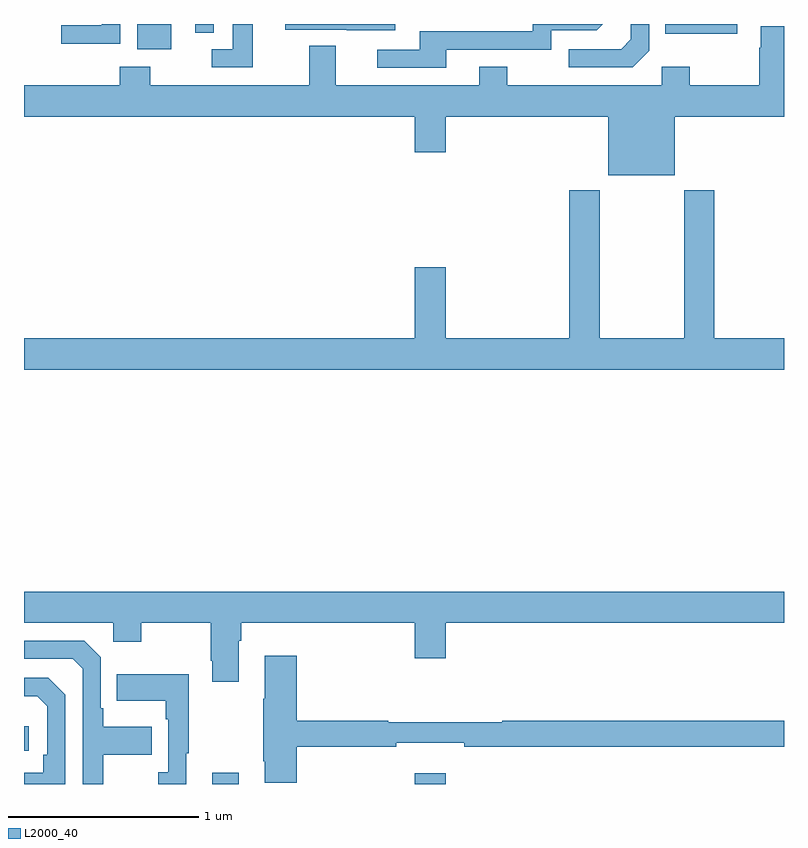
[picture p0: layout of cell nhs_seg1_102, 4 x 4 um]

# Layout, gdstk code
import gdstk
lib = gdstk.Library(unit=1e-6, precision=1e-09)
def R(c, l, rs):  # rectangles x0, y0, x1, y1
    for r in rs: c.add(gdstk.rectangle(r[:2], r[2:], *l))
def P(c, l, *ps):  # polygons
    for p in ps: c.add(gdstk.Polygon(p, *l))
L2000_40 = (2000, 40)

nhs_seg1_102 = lib.new_cell('nhs_seg1_102')
R(nhs_seg1_102, L2000_40, [(115.991,568.199,116.131,568.258), (117.056,568.199,117.22,568.255), (115,568.374,115.024,568.504), (115.595,572.066,115.774,572.199), (118.375,572.147,118.753,572.199), (115.902,572.152,115.998,572.199)])
P(nhs_seg1_102, L2000_40, [(116.203,572.199),(116.099,572.199),(116.099,572.067),(115.989,572.067),(115.989,571.971),(116.203,571.971)],
  [(118.29,572.058),(118.29,572.199),(118.194,572.199),(118.194,572.118),(118.143,572.067),(117.867,572.067),(117.867,571.971),(118.203,571.971)],
  [(116.953,572.199),(116.375,572.199),(116.375,572.169),(116.699,572.169),(116.699,572.165),(116.953,572.165)],
  [(117.223,572.064),(117.774,572.064),(117.774,572.166),(118.014,572.166),(118.047,572.199),(117.678,572.199),(117.678,572.16),(117.083,572.16),(117.083,572.064),(116.859,572.064),(116.859,571.968),(117.223,571.968)],
  [(115.506,572.199),(115.41,572.199),(115.41,572.193),(115.197,572.193),(115.197,572.095),(115.506,572.095)],
  [(118.426,571.712),(119,571.712),(119,572.188),(118.877,572.188),(118.877,572.075),(118.87,572.075),(118.87,571.876),(118.503,571.876),(118.503,571.975),(118.356,571.975),(118.356,571.876),(117.543,571.876),(117.543,571.975),(117.395,571.975),(117.395,571.876),(116.641,571.876),(116.641,572.084),(116.501,572.084),(116.501,571.876),(115.665,571.876),(115.665,571.975),(115.505,571.975),(115.505,571.876),(115,571.876),(115,571.712),(117.056,571.712),(117.056,571.524),(117.22,571.524),(117.22,571.712),(118.076,571.712),(118.076,571.403),(118.426,571.403)],
  [(119,570.544),(118.634,570.544),(118.634,571.324),(118.474,571.324),(118.474,570.544),(118.029,570.544),(118.029,571.324),(117.869,571.324),(117.869,570.544),(117.22,570.544),(117.22,570.919),(117.056,570.919),(117.056,570.544),(115,570.544),(115,570.38),(119,570.38)],
  [(116.131,568.952),(116.144,568.952),(116.144,569.048),(117.056,569.048),(117.056,568.86),(117.22,568.86),(117.22,569.048),(119,569.048),(119,569.212),(115,569.212),(115,569.048),(115.47,569.048),(115.47,568.949),(115.617,568.949),(115.617,569.048),(115.984,569.048),(115.984,568.849),(115.991,568.849),(115.991,568.737),(116.131,568.737)],
  [(115.417,568.354),(115.673,568.354),(115.673,568.501),(115.417,568.501),(115.417,568.597),(115.404,568.597),(115.404,568.866),(115.317,568.953),(115,568.953),(115,568.857),(115.257,568.857),(115.308,568.806),(115.308,568.199),(115.417,568.199)],
  [(116.435,568.396),(116.96,568.396),(116.96,568.415),(117.316,568.415),(117.316,568.396),(119,568.396),(119,568.532),(117.518,568.532),(117.518,568.525),(116.918,568.525),(116.918,568.532),(116.435,568.532),(116.435,568.873),(116.267,568.873),(116.267,568.649),(116.26,568.649),(116.26,568.318),(116.267,568.318),(116.267,568.206),(116.435,568.206)],
  [(115.855,568.361),(115.867,568.361),(115.867,568.777),(115.489,568.777),(115.489,568.637),(115.746,568.637),(115.746,568.541),(115.758,568.541),(115.758,568.262),(115.707,568.262),(115.707,568.199),(115.855,568.199)],
  [(115.218,568.668),(115.128,568.758),(115,568.758),(115,568.661),(115.069,568.661),(115.122,568.608),(115.122,568.354),(115.102,568.354),(115.102,568.257),(115,568.257),(115,568.199),(115.218,568.199)])

lib.write_gds('nhs_seg1_102.gds')
